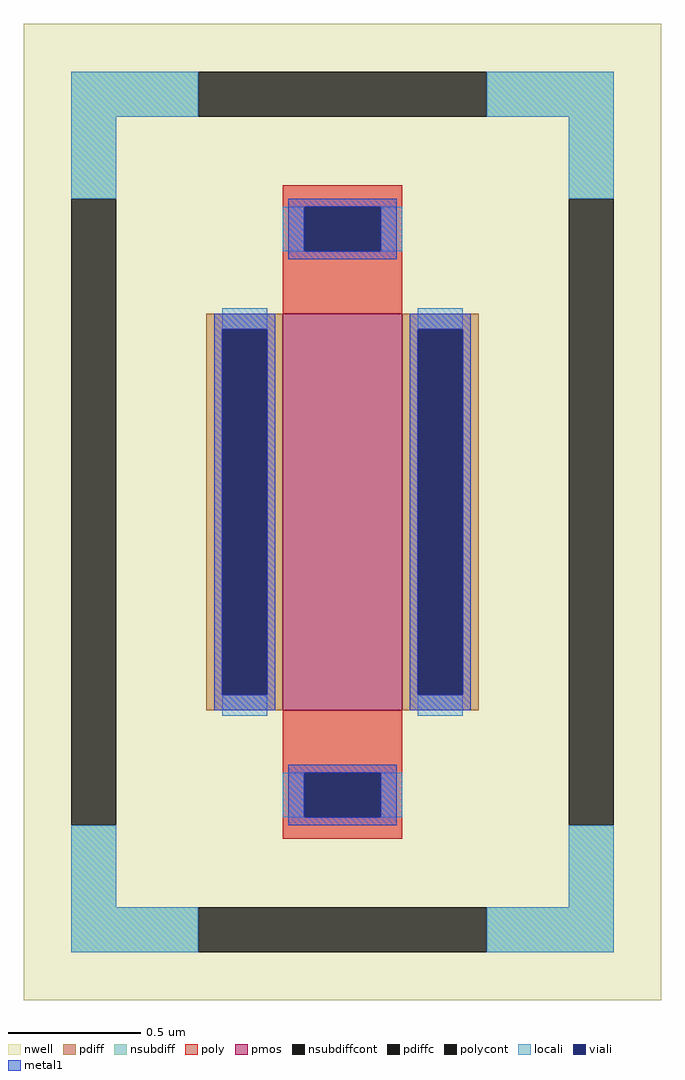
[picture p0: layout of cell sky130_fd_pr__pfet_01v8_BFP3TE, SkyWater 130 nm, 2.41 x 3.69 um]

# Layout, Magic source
magic
tech sky130A
magscale 1 2
<< nwell >>
rect -241 -369 241 369
<< pmos >>
rect -45 -150 45 150
<< pdiff >>
rect -103 138 -45 150
rect -103 -138 -91 138
rect -57 -138 -45 138
rect -103 -150 -45 -138
rect 45 138 103 150
rect 45 -138 57 138
rect 91 -138 103 138
rect 45 -150 103 -138
<< pdiffc >>
rect -91 -138 -57 138
rect 57 -138 91 138
<< nsubdiff >>
rect -205 299 -109 333
rect 109 299 205 333
rect -205 237 -171 299
rect 171 237 205 299
rect -205 -299 -171 -237
rect 171 -299 205 -237
rect -205 -333 -109 -299
rect 109 -333 205 -299
<< nsubdiffcont >>
rect -109 299 109 333
rect -205 -237 -171 237
rect 171 -237 205 237
rect -109 -333 109 -299
<< poly >>
rect -45 231 45 247
rect -45 197 -29 231
rect 29 197 45 231
rect -45 150 45 197
rect -45 -197 45 -150
rect -45 -231 -29 -197
rect 29 -231 45 -197
rect -45 -247 45 -231
<< polycont >>
rect -29 197 29 231
rect -29 -231 29 -197
<< locali >>
rect -205 299 -109 333
rect 109 299 205 333
rect -205 237 -171 299
rect 171 237 205 299
rect -45 197 -29 231
rect 29 197 45 231
rect -91 138 -57 154
rect -91 -154 -57 -138
rect 57 138 91 154
rect 57 -154 91 -138
rect -45 -231 -29 -197
rect 29 -231 45 -197
rect -205 -299 -171 -237
rect 171 -299 205 -237
rect -205 -333 -109 -299
rect 109 -333 205 -299
<< viali >>
rect -29 197 29 231
rect -91 -138 -57 138
rect 57 -138 91 138
rect -29 -231 29 -197
<< metal1 >>
rect -41 231 41 237
rect -41 197 -29 231
rect 29 197 41 231
rect -41 191 41 197
rect -97 138 -51 150
rect -97 -138 -91 138
rect -57 -138 -51 138
rect -97 -150 -51 -138
rect 51 138 97 150
rect 51 -138 57 138
rect 91 -138 97 138
rect 51 -150 97 -138
rect -41 -197 41 -191
rect -41 -231 -29 -197
rect 29 -231 41 -197
rect -41 -237 41 -231
<< properties >>
string FIXED_BBOX -188 -316 188 316
string gencell sky130_fd_pr__pfet_01v8
string library sky130
string parameters w 1.5 l 0.45 m 1 nf 1 diffcov 100 polycov 100 guard 1 glc 1 grc 1 gtc 1 gbc 1 tbcov 100 rlcov 100 topc 1 botc 1 poverlap 0 doverlap 1 lmin 0.15 wmin 0.42 compatible {sky130_fd_pr__pfet_01v8  sky130_fd_pr__pfet_01v8_lvt sky130_fd_pr__pfet_01v8_hvt  sky130_fd_pr__pfet_g5v0d10v5} full_metal 1 viasrc 100 viadrn 100 viagate 100 viagb 0 viagr 0 viagl 0 viagt 0
<< end >>
